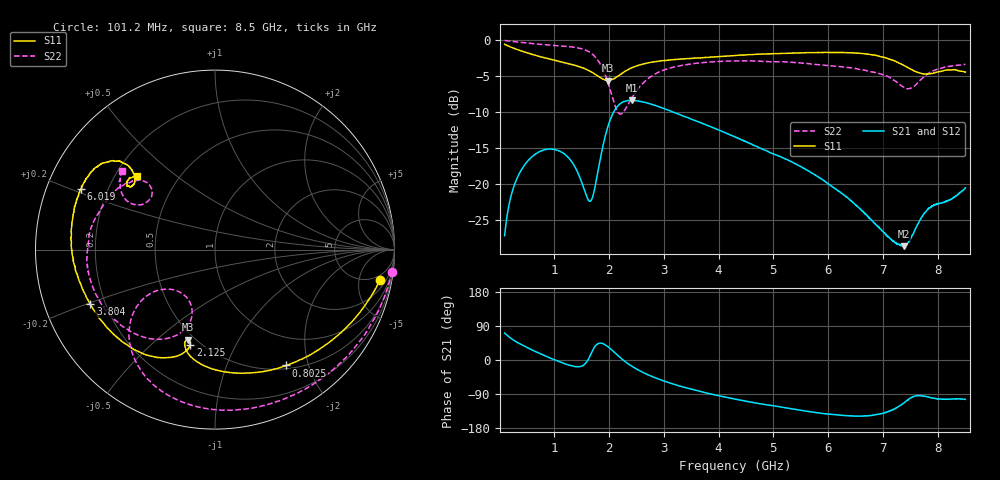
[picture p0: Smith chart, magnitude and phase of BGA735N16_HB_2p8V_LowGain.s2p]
! S-Parameter file
! MATLAB S2P writer
! (c) DICE Linz
! Infineon Technologies
! Date: 09.09.2009 10:11
!BGA735N16
!2.80V; 0.00V;
!25.00 deg
# MHZ S MA R 50
!  S11  S21  S12  S22
!  f  mag  angle  mag  angle  mag  angle  mag  angle
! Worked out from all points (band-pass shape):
!   1582 points, 101.2 MHz to 8.5 GHz, reference 50 ohm
!   highest |S21| = -8.38 dB at 2.428 GHz (marker M1); lowest = -28.7 dB at 7.374 GHz (marker M2)
!   |S21| within 3 dB of the highest: 2.012 GHz to 3.637 GHz (1.625 GHz wide, 57.5 % of centre)
!   lowest |S11| = -5.6 dB at 1.982 GHz (marker M3), VSWR 3.19, Z = 23.1 - j31.9 ohm
!   |S11| at or under -10 dB: nowhere
!   |S22| runs from -10.3 to -0.1 dB; largest |S21 - S12| = 0.0026
!   S11 on the Smith chart (normalised r, x): 101.2 MHz: 4, -9; 802.5 MHz: 0.55, -1.65; 2.125 GHz: 0.44, -0.67; 3.804 GHz: 0.14, -0.21; 6.019 GHz: 0.10, +0.21; 8.5 GHz: 0.29, +0.37
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101.2339  0.9339 -10.6  0.04362 71.1  0.04361 71.0  0.9937 -7.1
212.7925  0.8943 -19.8  0.08069 57.6  0.08105 57.6  0.9816 -14.5
345.6003  0.8554 -29.5  0.1132 45.3  0.1133 45.2  0.9688 -22.9
802.4592  0.7578 -58.4  0.1715 13.5  0.1714 13.4  0.9311 -51.1
1211.507  0.695 -81.5  0.1592 -10.5  0.1594 -10.7  0.9052 -78.6
1503.684  0.6446 -96.5  0.1032 -16.2  0.1033 -16.3  0.8699 -101.5
1689.615  0.598 -104.5  0.07803 20.7  0.07811 20.7  0.8045 -119.1
1843.672  0.5489 -107.9  0.1481 44.5  0.1484 44.4  0.6827 -134.6
1981.793  0.5227 -106.6  0.2485 35.5  0.2487 35.4  0.51 -144.9
2125.225  0.5475 -104.6  0.3333 17.1  0.333 16.9  0.3398 -139.6
2236.784  0.5866 -105.9  0.3669 2.8  0.3668 2.6  0.3077 -122.3
2428.027  0.6429 -111.4  0.381 -17.1  0.3807 -17.2  0.4011 -109.0
2900.823  0.713 -127.8  0.3453 -49.9  0.345 -49.9  0.5962 -123.0
3803.916  0.7578 -156.3  0.2543 -87.7  0.2544 -87.6  0.7026 -154.7
4303.273  0.78 -169.7  0.212 -103.4  0.2121 -103.3  0.7171 -168.4
5700.411  0.8172 161.7  0.1191 -137.1  0.1198 -137.0  0.6801 162.7
6019.15  0.8194 155.6  0.09877 -142.9  0.09904 -143.1  0.6631 156.0
7102.862  0.7396 138.2  0.04267 -135.3  0.04261 -135.2  0.5539 136.2
7373.79  0.6684 136.0  0.03686 -114.2  0.03731 -113.8  0.4706 138.1
7586.282  0.6045 137.6  0.04844 -95.2  0.04801 -95.1  0.4843 149.0
7814.712  0.5812 142.2  0.06681 -97.5  0.06604 -97.8  0.5826 150.3
8500  0.5983 136.4  0.09366 -103.8  0.09327 -103.7  0.678 139.9
